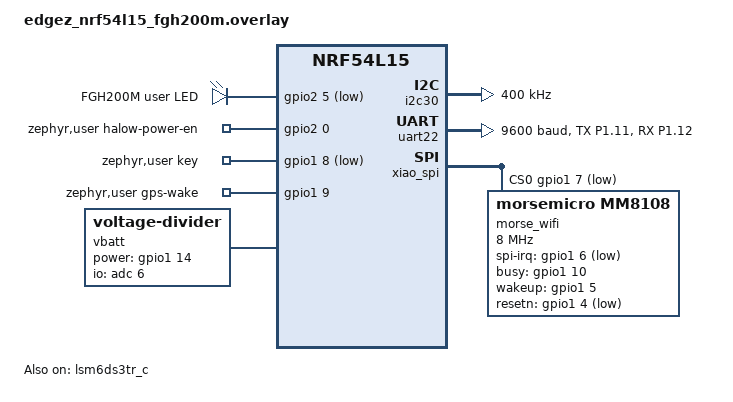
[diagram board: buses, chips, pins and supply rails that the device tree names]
#include <zephyr/dt-bindings/i2c/i2c.h>

/*
 * EdgeZ nRF54L15 + FGH200M/MM8108 wiring from the 2026-09-10 schematic:
 *   IMU_INT1       -> P0.02
 *   IMU_SDA/SCL    -> P0.04/P0.03 (TWIM30)
 *   LED / KEY      -> P2.05/P1.08 (both active-low)
 *   VBAT / enable  -> P1.13 (AIN6)/P1.14
 *   GPS wake/RX/TX -> P1.09/P1.11/P1.12
 *   HaLow power    -> P2.00
 *   CS/SCK/MISO/MOSI -> P1.07/P2.01/P2.04/P2.02
 *   IRQ/BUSY/WAKE/RESETn -> P1.06/P1.10/P1.05/P1.04
 */

/ {
	leds {
		compatible = "gpio-leds";

		fgh200m_led: fgh200m_led {
			gpios = <&gpio2 5 GPIO_ACTIVE_LOW>;
			label = "FGH200M user LED";
		};
	};

	aliases {
		led0 = &fgh200m_led;
		imu0 = &lsm6ds3tr_c;
		gps0 = &uart22;
		vbatt = &vbatt;
	};

	zephyr,user {
		halow-power-en-gpios = <&gpio2 0 GPIO_ACTIVE_HIGH>;
		key-gpios = <&gpio1 8 (GPIO_PULL_UP | GPIO_ACTIVE_LOW)>;
		gps-wake-gpios = <&gpio1 9 GPIO_ACTIVE_HIGH>;
	};

	vbatt: vbatt {
		compatible = "voltage-divider";
		io-channels = <&adc 6>;
		output-ohms = <100000>;
		full-ohms = <200000>;
		power-gpios = <&gpio1 14 GPIO_ACTIVE_HIGH>;
	};
};

/* The stock XIAO LED occupies the HaLow power-enable pin. */
&led0 {
	status = "disabled";
};

/* FGH200M uses the same XIAO SPIM00 wiring as the HC01 carrier. */
&spi00_default {
	group1 {
		psels = <NRF_PSEL(SPIM_SCK, 2, 1)>,
			<NRF_PSEL(SPIM_MISO, 2, 4)>,
			<NRF_PSEL(SPIM_MOSI, 2, 2)>;
	};
};

&spi00_sleep {
	group1 {
		psels = <NRF_PSEL(SPIM_SCK, 2, 1)>,
			<NRF_PSEL(SPIM_MISO, 2, 4)>,
			<NRF_PSEL(SPIM_MOSI, 2, 2)>;
		low-power-enable;
	};
};

/* P1.08 is the key, so the default UART20 RX pin cannot be used. */
&uart20 {
	status = "disabled";
};

&usr_btn {
	gpios = <&gpio1 8 (GPIO_PULL_UP | GPIO_ACTIVE_LOW)>;
	label = "KEY";
};

&i2c30_default {
	group1 {
		psels = <NRF_PSEL(TWIM_SDA, 0, 4)>,
			<NRF_PSEL(TWIM_SCL, 0, 3)>;
		bias-pull-up;
	};
};

&i2c30 {
	status = "okay";
	clock-frequency = <I2C_BITRATE_FAST>;
};

&lsm6ds3tr_c {
	status = "okay";
	irq-gpios = <&gpio0 2 GPIO_ACTIVE_HIGH>;
	zephyr,deferred-init;
};

&pinctrl {
	fgh200m_gps_default: fgh200m_gps_default {
		group1 {
			/* Module RXD is driven by the MCU TX pin. */
			psels = <NRF_PSEL(UART_TX, 1, 11)>;
		};

		group2 {
			/* Module TXD drives the MCU RX pin. */
			psels = <NRF_PSEL(UART_RX, 1, 12)>;
			bias-pull-up;
		};
	};

	fgh200m_gps_sleep: fgh200m_gps_sleep {
		group1 {
			psels = <NRF_PSEL(UART_TX, 1, 11)>,
				<NRF_PSEL(UART_RX, 1, 12)>;
			low-power-enable;
		};
	};
};

/* UART22 and I2C22 are alternate modes of the same serial peripheral. */
/delete-node/ &i2c22;

&uart22 {
	status = "okay";
	current-speed = <9600>;
	pinctrl-0 = <&fgh200m_gps_default>;
	pinctrl-1 = <&fgh200m_gps_sleep>;
	pinctrl-names = "default", "sleep";
};

&rfsw_ctl {
	status = "disabled";
};

&rfsw_pwr {
	status = "disabled";
};

&xiao_spi {
	status = "okay";
	cs-gpios = <&gpio1 7 GPIO_ACTIVE_LOW>;
	pinctrl-0 = <&spi00_default>;
	pinctrl-1 = <&spi00_sleep>;
	pinctrl-names = "default", "sleep";

	morse_wifi: morse@0 {
		status = "okay";
		compatible = "morsemicro,mm8108";
		bcf = "bcf_mf15457.mbin";
		/* nRF54L SPIM requires an exact supported clock prescaler. */
		spi-max-frequency = <8000000>;
		reg = <0>;

		spi-irq-gpios = <&gpio1 6 GPIO_ACTIVE_LOW>;
		busy-gpios = <&gpio1 10 (GPIO_ACTIVE_HIGH | GPIO_PULL_DOWN)>;
		wakeup-gpios = <&gpio1 5 GPIO_ACTIVE_HIGH>;
		resetn-gpios = <&gpio1 4 GPIO_ACTIVE_LOW>;
	};
};
